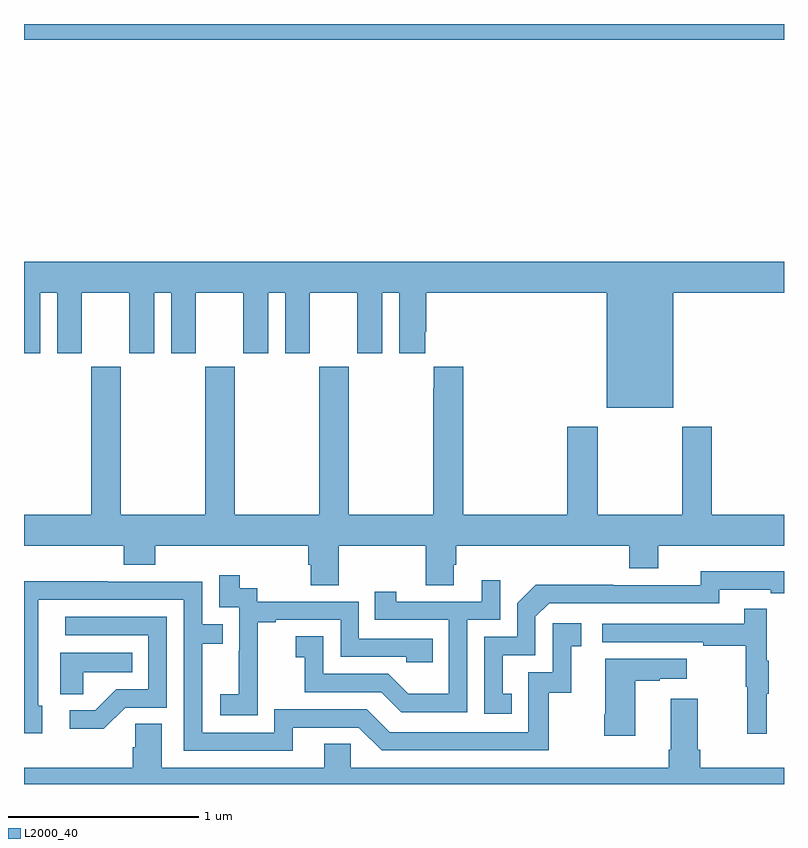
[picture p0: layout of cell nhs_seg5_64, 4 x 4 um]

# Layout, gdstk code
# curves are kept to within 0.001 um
import gdstk
lib = gdstk.Library(unit=1e-6, precision=1e-09)
def R(c, l, rs):  # rectangles x0, y0, x1, y1
    for r in rs: c.add(gdstk.rectangle(r[:2], r[2:], *l))
def P(c, l, *ps):  # polygons
    for p in ps: c.add(gdstk.Polygon(p, *l))
L2000_40 = (2000, 40)

nhs_seg5_64 = lib.new_cell('nhs_seg5_64')
R(nhs_seg5_64, L2000_40, [(113,900.716,117,900.799)])
P(nhs_seg5_64, L2000_40, [(116.416,899.384),(117,899.384),(117,899.548),(113,899.548),(113,899.067),(113.086,899.067),(113.086,899.384),(113.174,899.384),(113.174,899.067),(113.305,899.067),(113.305,899.384),(113.555,899.384),(113.555,899.067),(113.686,899.067),(113.686,899.384),(113.774,899.384),(113.774,899.067),(113.905,899.067),(113.905,899.384),(114.155,899.384),(114.155,899.067),(114.286,899.067),(114.286,899.384),(114.374,899.384),(114.374,899.067),(114.505,899.067),(114.505,899.384),(114.755,899.384),(114.755,899.067),(114.886,899.067),(114.886,899.384),(114.974,899.384),(114.974,899.067),(115.111,899.067),(115.111,899.179),(115.118,899.179),(115.118,899.384),(116.066,899.384),(116.066,898.778),(116.416,898.778)],
  [(114.657,898.052),(115.114,898.052),(115.114,897.844),(115.261,897.844),(115.261,897.954),(115.274,897.954),(115.274,898.052),(116.186,898.052),(116.186,897.935),(116.338,897.935),(116.338,898.052),(117,898.052),(117,898.216),(116.619,898.216),(116.619,898.678),(116.464,898.678),(116.464,898.216),(116.019,898.216),(116.019,898.678),(115.859,898.678),(115.859,898.216),(115.313,898.216),(115.313,898.996),(115.157,898.996),(115.157,898.883),(115.153,898.883),(115.153,898.216),(114.708,898.216),(114.708,898.996),(114.553,898.996),(114.553,898.216),(114.108,898.216),(114.108,898.996),(113.953,898.996),(113.953,898.216),(113.508,898.216),(113.508,898.996),(113.353,898.996),(113.353,898.216),(113,898.216),(113,898.052),(113.525,898.052),(113.525,897.953),(113.69,897.953),(113.69,898.052),(114.497,898.052),(114.497,897.954),(114.509,897.954),(114.509,897.844),(114.657,897.844)],
  [(115.568,897.273),(115.519,897.273),(115.519,897.477),(115.692,897.477),(115.692,897.678),(115.764,897.75),(116.658,897.75),(116.658,897.822),(116.93,897.822),(116.93,897.802),(117,897.802),(117,897.918),(116.562,897.919),(116.562,897.846),(116.102,897.846),(116.102,897.848),(115.694,897.848),(115.596,897.75),(115.596,897.573),(115.422,897.573),(115.422,897.168),(115.568,897.168)],
  [(114.231,897.367),(114.23,897.367),(114.23,897.651),(114.325,897.651),(114.325,897.663),(114.666,897.663),(114.666,897.468),(115.011,897.468),(115.011,897.441),(115.151,897.441),(115.151,897.564),(114.762,897.564),(114.762,897.759),(114.228,897.759),(114.228,897.828),(114.136,897.828),(114.136,897.898),(114.027,897.898),(114.027,897.729),(114.132,897.729),(114.132,897.5),(114.131,897.5),(114.131,897.271),(114.033,897.271),(114.033,897.161),(114.231,897.161)],
  [(115.332,897.663),(115.506,897.663),(115.506,897.871),(115.409,897.871),(115.409,897.759),(114.958,897.759),(114.958,897.811),(114.847,897.811),(114.847,897.663),(115.236,897.663),(115.236,897.274),(115.022,897.274),(114.918,897.378),(114.576,897.378),(114.576,897.577),(114.429,897.577),(114.429,897.467),(114.478,897.467),(114.478,897.282),(114.881,897.282),(114.986,897.177),(115.332,897.177)],
  [(114.415,897.096),(114.762,897.096),(114.882,896.976),(115.762,896.976),(115.762,897.279),(115.88,897.279),(115.88,897.525),(115.933,897.525),(115.933,897.646),(115.782,897.646),(115.782,897.387),(115.653,897.387),(115.653,897.072),(114.924,897.072),(114.804,897.192),(114.318,897.192),(114.318,897.069),(113.937,897.069),(113.937,897.538),(114.047,897.538),(114.047,897.639),(113.937,897.639),(113.937,897.864),(113.441,897.864),(113.441,897.866),(113,897.866),(113,897.066),(113.095,897.066),(113.095,897.21),(113.076,897.21),(113.076,897.768),(113.841,897.768),(113.841,896.973),(114.415,896.973)],
  [(116.909,897.275),(116.92,897.275),(116.92,897.449),(116.909,897.449),(116.909,897.721),(116.791,897.721),(116.791,897.642),(116.043,897.642),(116.043,897.546),(116.575,897.546),(116.575,897.526),(116.799,897.526),(116.799,897.312),(116.806,897.312),(116.806,897.063),(116.909,897.063)],
  [(113.532,897.201),(113.751,897.201),(113.751,897.678),(113.217,897.678),(113.217,897.582),(113.655,897.582),(113.655,897.297),(113.486,897.297),(113.375,897.186),(113.241,897.186),(113.241,897.089),(113.419,897.089)],
  [(113.313,897.386),(113.57,897.386),(113.57,897.49),(113.192,897.49),(113.192,897.271),(113.313,897.271)],
  [(116.218,897.343),(116.345,897.343),(116.345,897.353),(116.488,897.353),(116.488,897.457),(116.06,897.457),(116.06,897.166),(116.053,897.166),(116.053,897.054),(116.218,897.054)],
  [(117,896.884),(116.558,896.884),(116.558,896.98),(116.545,896.98),(116.545,897.247),(116.405,897.247),(116.405,896.98),(116.393,896.98),(116.393,896.884),(114.72,896.884),(114.72,897.011),(114.581,897.011),(114.581,896.884),(113.725,896.884),(113.725,897.116),(113.586,897.116),(113.586,896.993),(113.573,896.993),(113.573,896.884),(113,896.884),(113,896.799),(117,896.799)])

lib.write_gds('nhs_seg5_64.gds')
